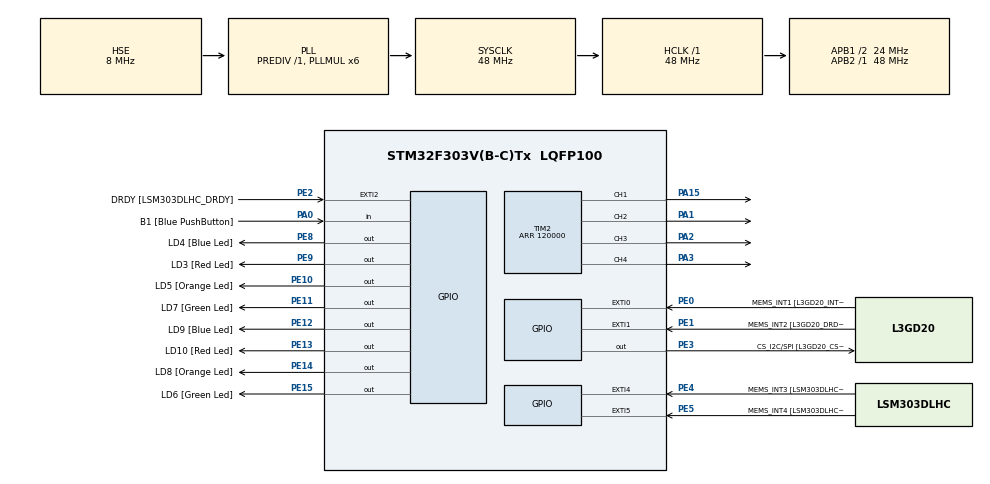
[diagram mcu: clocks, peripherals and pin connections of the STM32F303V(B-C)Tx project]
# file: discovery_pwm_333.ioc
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Mcu.Family=STM32F3
Mcu.Name=STM32F303V(B-C)Tx
Mcu.Package=LQFP100
NVIC.PriorityGroup=NVIC_PRIORITYGROUP_0
NVIC.TIM2_IRQn=true\:0\:0\:false\:false\:true\:true\:true\:true
PA0.GPIO_Label=B1 [Blue PushButton]
PA0.Signal=GPIO_Input
PA1.Signal=S_TIM2_CH2
PA11.GPIO_Label=DM
PA11.Signal=USB_DM
PA12.GPIO_Label=DP
PA12.Signal=USB_DP
PA13.GPIO_Label=SWDIO
PA13.Mode=Serial_Wire
PA13.Signal=SYS_JTMS-SWDIO
PA14.GPIO_Label=SWCLK
PA14.Mode=Serial_Wire
PA14.Signal=SYS_JTCK-SWCLK
PA15.Signal=S_TIM2_CH1_ETR
PA2.Signal=S_TIM2_CH3
PA3.Signal=S_TIM2_CH4
PA5.GPIO_Label=SPI1_SCK [L3GD20_SCL/SPC]
PA5.Signal=SPI1_SCK
PA6.GPIO_Label=SPI1_MISO [L3GD20_SA0/SDO]
PA6.Signal=SPI1_MISO
PA7.GPIO_Label=SPI1_MISO [L3GD20_SDA/SDI/SDO]
PA7.Signal=SPI1_MOSI
PB3.GPIO_Label=SWO
PB3.Signal=SYS_JTDO-TRACESWO
PB6.GPIO_Label=I2C1_SCL [LSM303DLHC_SCL]
PB6.GPIO_Pu=GPIO_PULLUP
PB6.Signal=I2C1_SCL
PB7.GPIO_Label=I2C1_SDA [LSM303DLHC_SDA]
PB7.GPIO_Pu=GPIO_PULLUP
PB7.Signal=I2C1_SDA
PC14-OSC32_IN.GPIO_Label=OSC32_IN
PC14-OSC32_IN.Signal=RCC_OSC32_IN
PC15-OSC32_OUT.GPIO_Label=OSC32_OUT
PC15-OSC32_OUT.Signal=RCC_OSC32_OUT
PE0.GPIO_Label=MEMS_INT1 [L3GD20_INT1]
PE0.GPIO_ModeDefaultEXTI=GPIO_MODE_EVT_RISING
PE0.Signal=GPXTI0
PE1.GPIO_Label=MEMS_INT2 [L3GD20_DRDY/INT2]
PE1.GPIO_ModeDefaultEXTI=GPIO_MODE_EVT_RISING
PE1.Signal=GPXTI1
PE10.GPIO_Label=LD5 [Orange Led]
PE10.Signal=GPIO_Output
PE11.GPIO_Label=LD7 [Green Led]
PE11.Signal=GPIO_Output
PE12.GPIO_Label=LD9 [Blue Led]
PE12.Signal=GPIO_Output
PE13.GPIO_Label=LD10 [Red Led]
PE13.Signal=GPIO_Output
PE14.GPIO_Label=LD8 [Orange Led]
PE14.Signal=GPIO_Output
PE15.GPIO_Label=LD6 [Green Led]
PE15.Signal=GPIO_Output
PE2.GPIO_Label=DRDY [LSM303DLHC_DRDY]
PE2.GPIO_ModeDefaultEXTI=GPIO_MODE_EVT_RISING
PE2.Signal=GPXTI2
PE3.GPIO_Label=CS_I2C/SPI [L3GD20_CS_I2C/SPI]
PE3.Signal=GPIO_Output
PE4.GPIO_Label=MEMS_INT3 [LSM303DLHC_INT1]
PE4.GPIO_ModeDefaultEXTI=GPIO_MODE_EVT_RISING
PE4.Signal=GPXTI4
PE5.GPIO_Label=MEMS_INT4 [LSM303DLHC_INT2]
PE5.GPIO_ModeDefaultEXTI=GPIO_MODE_EVT_RISING
PE5.Signal=GPXTI5
PE8.GPIO_Label=LD4 [Blue Led]
PE8.Signal=GPIO_Output
PE9.GPIO_Label=LD3 [Red Led]
PE9.Signal=GPIO_Output
PF0-OSC_IN.GPIO_Label=OSC_IN
PF0-OSC_IN.Mode=HSE-External-Clock-Source
PF0-OSC_IN.Signal=RCC_OSC_IN
PF1-OSC_OUT.GPIO_Label=OSC_OUT
PF1-OSC_OUT.Signal=RCC_OSC_OUT
ProjectManager.HeapSize=0x200
ProjectManager.StackSize=0x400
ProjectManager.TargetToolchain=STM32CubeIDE
RCC.AHBFreq_Value=48000000
RCC.APB1CLKDivider=RCC_HCLK_DIV2
RCC.APB1Freq_Value=24000000
RCC.APB1TimFreq_Value=48000000
RCC.APB2Freq_Value=48000000
RCC.APB2TimCLKDivider=1
RCC.APB2TimFreq_Value=48000000
RCC.CortexFreq_Value=48000000
RCC.HCLKFreq_Value=48000000
RCC.HSE_VALUE=8000000
RCC.HSI_VALUE=8000000
RCC.LSE_VALUE=32768
RCC.PLLMUL=RCC_PLL_MUL6
RCC.PLLSourceVirtual=RCC_PLLSOURCE_HSE
RCC.SYSCLKFreq_VALUE=48000000
RCC.SYSCLKSourceVirtual=RCC_SYSCLKSOURCE_PLLCLK
RCC.USBFreq_Value=48000000
SH.S_TIM2_CH1_ETR.0=TIM2_CH1,PWM Generation1 CH1
SH.S_TIM2_CH2.0=TIM2_CH2,PWM Generation2 CH2
SH.S_TIM2_CH3.0=TIM2_CH3,PWM Generation3 CH3
SH.S_TIM2_CH4.0=TIM2_CH4,PWM Generation4 CH4
TIM2.Channel-PWM\ Generation1\ CH1=TIM_CHANNEL_1
TIM2.Channel-PWM\ Generation2\ CH2=TIM_CHANNEL_2
TIM2.Channel-PWM\ Generation3\ CH3=TIM_CHANNEL_3
TIM2.Channel-PWM\ Generation4\ CH4=TIM_CHANNEL_4
TIM2.Period=120000
VP_TIM2_VS_ClockSourceINT.Mode=Internal
board=STM32F3DISCOVERY

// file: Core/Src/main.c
/* USER CODE BEGIN Header */
/**
 ******************************************************************************
 * @file           : main.c
 * @brief          : Main program body
 ******************************************************************************
 * @attention
 *
 * Copyright (c) 2022 STMicroelectronics.
 * All rights reserved.
 *
 * This software is licensed under terms that can be found in the LICENSE file
 * in the root directory of this software component.
 * If no LICENSE file comes with this software, it is provided AS-IS.
 *
 ******************************************************************************
 */
/* USER CODE END Header */
#include "main.h"

/* USER CODE BEGIN Includes */
#include "pwm_array.h"
/* USER CODE END Includes */

TIM_HandleTypeDef htim2;

/* USER CODE BEGIN PV */
uint32_t frame_cnt = 0;
uint8_t loop_cnt = 0;
/* USER CODE END PV */

void SystemClock_Config(void);
static void MX_GPIO_Init(void);
static void MX_TIM2_Init(void);

int main(void)
{

  /* MCU Configuration--------------------------------------------------------*/

  /* Reset of all peripherals, Initializes the Flash interface and the Systick. */
  HAL_Init();

  /* Configure the system clock */
  SystemClock_Config();

  /* Initialize all configured peripherals */
  MX_GPIO_Init();
  MX_TIM2_Init();
  /* USER CODE BEGIN 2 */
	HAL_TIM_Base_Start_IT(&htim2);

	HAL_TIM_PWM_Start_IT(&htim2, TIM_CHANNEL_1);
	HAL_TIM_PWM_Start_IT(&htim2, TIM_CHANNEL_2);
	HAL_TIM_PWM_Start_IT(&htim2, TIM_CHANNEL_3);
	HAL_TIM_PWM_Start_IT(&htim2, TIM_CHANNEL_4);
  /* USER CODE END 2 */

  /* Infinite loop */
	while (1) {

    /* USER CODE BEGIN 3 */
		if (loop_cnt & 0b1) {
			HAL_GPIO_WritePin(LD7_GPIO_Port, LD7_Pin, GPIO_PIN_SET);
		} else {
			HAL_GPIO_WritePin(LD7_GPIO_Port, LD7_Pin, GPIO_PIN_RESET);
		}
		if (loop_cnt & 0b10) {
			HAL_GPIO_WritePin(LD9_GPIO_Port, LD9_Pin, GPIO_PIN_SET);
		} else {
			HAL_GPIO_WritePin(LD9_GPIO_Port, LD9_Pin, GPIO_PIN_RESET);
		}
		if (loop_cnt & 0b100) {
			HAL_GPIO_WritePin(LD10_GPIO_Port, LD10_Pin, GPIO_PIN_SET);
		} else {
			HAL_GPIO_WritePin(LD10_GPIO_Port, LD10_Pin, GPIO_PIN_RESET);
		}
		if (loop_cnt & 0b1000) {
			HAL_GPIO_WritePin(LD8_GPIO_Port, LD8_Pin, GPIO_PIN_SET);
		} else {
			HAL_GPIO_WritePin(LD8_GPIO_Port, LD8_Pin, GPIO_PIN_RESET);
		}
		if (loop_cnt & 0b10000) {
			HAL_GPIO_WritePin(LD6_GPIO_Port, LD6_Pin, GPIO_PIN_SET);
		} else {
			HAL_GPIO_WritePin(LD6_GPIO_Port, LD6_Pin, GPIO_PIN_RESET);
		}
		if (loop_cnt & 0b100000) {
			HAL_GPIO_WritePin(LD4_GPIO_Port, LD4_Pin, GPIO_PIN_SET);
		} else {
			HAL_GPIO_WritePin(LD4_GPIO_Port, LD4_Pin, GPIO_PIN_RESET);
		}
		if (loop_cnt & 0b1000000) {
			HAL_GPIO_WritePin(LD3_GPIO_Port, LD3_Pin, GPIO_PIN_SET);
		} else {
			HAL_GPIO_WritePin(LD3_GPIO_Port, LD3_Pin, GPIO_PIN_RESET);
		}
		if (loop_cnt & 0b10000000) {
			HAL_GPIO_WritePin(LD5_GPIO_Port, LD5_Pin, GPIO_PIN_SET);
		} else {
			HAL_GPIO_WritePin(LD5_GPIO_Port, LD5_Pin, GPIO_PIN_RESET);
		}
	}
  /* USER CODE END 3 */
}

void SystemClock_Config(void)
{
  RCC_OscInitTypeDef RCC_OscInitStruct = {0};
  RCC_ClkInitTypeDef RCC_ClkInitStruct = {0};

  /** Initializes the RCC Oscillators according to the specified parameters
  * in the RCC_OscInitTypeDef structure.
  */
  RCC_OscInitStruct.OscillatorType = RCC_OSCILLATORTYPE_HSE;
  RCC_OscInitStruct.HSEState = RCC_HSE_BYPASS;
  RCC_OscInitStruct.HSEPredivValue = RCC_HSE_PREDIV_DIV1;
  RCC_OscInitStruct.HSIState = RCC_HSI_ON;
  RCC_OscInitStruct.PLL.PLLState = RCC_PLL_ON;
  RCC_OscInitStruct.PLL.PLLSource = RCC_PLLSOURCE_HSE;
  RCC_OscInitStruct.PLL.PLLMUL = RCC_PLL_MUL6;
  if (HAL_RCC_OscConfig(&RCC_OscInitStruct) != HAL_OK)
  {
    Error_Handler();
  }

  /** Initializes the CPU, AHB and APB buses clocks
  */
  RCC_ClkInitStruct.ClockType = RCC_CLOCKTYPE_HCLK|RCC_CLOCKTYPE_SYSCLK
                              |RCC_CLOCKTYPE_PCLK1|RCC_CLOCKTYPE_PCLK2;
  RCC_ClkInitStruct.SYSCLKSource = RCC_SYSCLKSOURCE_PLLCLK;
  RCC_ClkInitStruct.AHBCLKDivider = RCC_SYSCLK_DIV1;
  RCC_ClkInitStruct.APB1CLKDivider = RCC_HCLK_DIV2;
  RCC_ClkInitStruct.APB2CLKDivider = RCC_HCLK_DIV1;

  if (HAL_RCC_ClockConfig(&RCC_ClkInitStruct, FLASH_LATENCY_1) != HAL_OK)
  {
    Error_Handler();
  }
}

static void MX_TIM2_Init(void)
{

  TIM_ClockConfigTypeDef sClockSourceConfig = {0};
  TIM_MasterConfigTypeDef sMasterConfig = {0};
  TIM_OC_InitTypeDef sConfigOC = {0};

  htim2.Instance = TIM2;
  htim2.Init.Prescaler = 0;
  htim2.Init.CounterMode = TIM_COUNTERMODE_UP;
  htim2.Init.Period = 120000;
  htim2.Init.ClockDivision = TIM_CLOCKDIVISION_DIV1;
  htim2.Init.AutoReloadPreload = TIM_AUTORELOAD_PRELOAD_DISABLE;
  if (HAL_TIM_Base_Init(&htim2) != HAL_OK)
  {
    Error_Handler();
  }
  sClockSourceConfig.ClockSource = TIM_CLOCKSOURCE_INTERNAL;
  if (HAL_TIM_ConfigClockSource(&htim2, &sClockSourceConfig) != HAL_OK)
  {
    Error_Handler();
  }
  if (HAL_TIM_PWM_Init(&htim2) != HAL_OK)
  {
    Error_Handler();
  }
  sMasterConfig.MasterOutputTrigger = TIM_TRGO_RESET;
  sMasterConfig.MasterSlaveMode = TIM_MASTERSLAVEMODE_DISABLE;
  if (HAL_TIMEx_MasterConfigSynchronization(&htim2, &sMasterConfig) != HAL_OK)
  {
    Error_Handler();
  }
  sConfigOC.OCMode = TIM_OCMODE_PWM1;
  sConfigOC.Pulse = 0;
  sConfigOC.OCPolarity = TIM_OCPOLARITY_HIGH;
  sConfigOC.OCFastMode = TIM_OCFAST_DISABLE;
  if (HAL_TIM_PWM_ConfigChannel(&htim2, &sConfigOC, TIM_CHANNEL_1) != HAL_OK)
  {
    Error_Handler();
  }
  if (HAL_TIM_PWM_ConfigChannel(&htim2, &sConfigOC, TIM_CHANNEL_2) != HAL_OK)
  {
    Error_Handler();
  }
  if (HAL_TIM_PWM_ConfigChannel(&htim2, &sConfigOC, TIM_CHANNEL_3) != HAL_OK)
  {
    Error_Handler();
  }
  if (HAL_TIM_PWM_ConfigChannel(&htim2, &sConfigOC, TIM_CHANNEL_4) != HAL_OK)
  {
    Error_Handler();
  }
  HAL_TIM_MspPostInit(&htim2);

}

static void MX_GPIO_Init(void)
{
  GPIO_InitTypeDef GPIO_InitStruct = {0};

  /* GPIO Ports Clock Enable */
  __HAL_RCC_GPIOE_CLK_ENABLE();
  __HAL_RCC_GPIOC_CLK_ENABLE();
  __HAL_RCC_GPIOF_CLK_ENABLE();
  __HAL_RCC_GPIOA_CLK_ENABLE();
  __HAL_RCC_GPIOB_CLK_ENABLE();

  /*Configure GPIO pin Output Level */
  HAL_GPIO_WritePin(GPIOE, CS_I2C_SPI_Pin|LD4_Pin|LD3_Pin|LD5_Pin
                          |LD7_Pin|LD9_Pin|LD10_Pin|LD8_Pin
                          |LD6_Pin, GPIO_PIN_RESET);

  /*Configure GPIO pins : DRDY_Pin MEMS_INT3_Pin MEMS_INT4_Pin MEMS_INT1_Pin
                           MEMS_INT2_Pin */
  GPIO_InitStruct.Pin = DRDY_Pin|MEMS_INT3_Pin|MEMS_INT4_Pin|MEMS_INT1_Pin
                          |MEMS_INT2_Pin;
  GPIO_InitStruct.Mode = GPIO_MODE_EVT_RISING;
  GPIO_InitStruct.Pull = GPIO_NOPULL;
  HAL_GPIO_Init(GPIOE, &GPIO_InitStruct);

  /*Configure GPIO pins : CS_I2C_SPI_Pin LD4_Pin LD3_Pin LD5_Pin
                           LD7_Pin LD9_Pin LD10_Pin LD8_Pin
                           LD6_Pin */
  GPIO_InitStruct.Pin = CS_I2C_SPI_Pin|LD4_Pin|LD3_Pin|LD5_Pin
                          |LD7_Pin|LD9_Pin|LD10_Pin|LD8_Pin
                          |LD6_Pin;
  GPIO_InitStruct.Mode = GPIO_MODE_OUTPUT_PP;
  GPIO_InitStruct.Pull = GPIO_NOPULL;
  GPIO_InitStruct.Speed = GPIO_SPEED_FREQ_LOW;
  HAL_GPIO_Init(GPIOE, &GPIO_InitStruct);

  /*Configure GPIO pin : B1_Pin */
  GPIO_InitStruct.Pin = B1_Pin;
  GPIO_InitStruct.Mode = GPIO_MODE_INPUT;
  GPIO_InitStruct.Pull = GPIO_NOPULL;
  HAL_GPIO_Init(B1_GPIO_Port, &GPIO_InitStruct);

  /*Configure GPIO pins : SPI1_SCK_Pin SPI1_MISO_Pin SPI1_MISOA7_Pin */
  GPIO_InitStruct.Pin = SPI1_SCK_Pin|SPI1_MISO_Pin|SPI1_MISOA7_Pin;
  GPIO_InitStruct.Mode = GPIO_MODE_AF_PP;
  GPIO_InitStruct.Pull = GPIO_NOPULL;
  GPIO_InitStruct.Speed = GPIO_SPEED_FREQ_HIGH;
  GPIO_InitStruct.Alternate = GPIO_AF5_SPI1;
  HAL_GPIO_Init(GPIOA, &GPIO_InitStruct);

  /*Configure GPIO pins : DM_Pin DP_Pin */
  GPIO_InitStruct.Pin = DM_Pin|DP_Pin;
  GPIO_InitStruct.Mode = GPIO_MODE_AF_PP;
  GPIO_InitStruct.Pull = GPIO_NOPULL;
  GPIO_InitStruct.Speed = GPIO_SPEED_FREQ_HIGH;
  GPIO_InitStruct.Alternate = GPIO_AF14_USB;
  HAL_GPIO_Init(GPIOA, &GPIO_InitStruct);

  /*Configure GPIO pins : I2C1_SCL_Pin I2C1_SDA_Pin */
  GPIO_InitStruct.Pin = I2C1_SCL_Pin|I2C1_SDA_Pin;
  GPIO_InitStruct.Mode = GPIO_MODE_AF_OD;
  GPIO_InitStruct.Pull = GPIO_PULLUP;
  GPIO_InitStruct.Speed = GPIO_SPEED_FREQ_HIGH;
  GPIO_InitStruct.Alternate = GPIO_AF4_I2C1;
  HAL_GPIO_Init(GPIOB, &GPIO_InitStruct);

}

/* USER CODE BEGIN 4 */
void HAL_TIM_PeriodElapsedCallback(TIM_HandleTypeDef *htim) {
	if (loop_cnt < 255) {
		htim2.Instance->CCR1 = dropout[frame_cnt] * 120000 / 2500;
		htim2.Instance->CCR2 = dropout[frame_cnt] * 120000 / 2500;
		htim2.Instance->CCR3 = dropout[frame_cnt] * 120000 / 2500;
		htim2.Instance->CCR4 = dropout[frame_cnt] * 120000 / 2500;
		frame_cnt++;
	} else {
		htim2.Instance->CCR1 = 900 * 120000 / 2500;
		htim2.Instance->CCR2 = 900 * 120000 / 2500;
		htim2.Instance->CCR3 = 900 * 120000 / 2500;
		htim2.Instance->CCR4 = 900 * 120000 / 2500;
	}
	if (frame_cnt >= sizeof(dropout)/2) {
		frame_cnt = 0;
		loop_cnt++;
	}
}
/* USER CODE END 4 */

void Error_Handler(void)
{
	__disable_irq();
	while (1) {
	}
}
